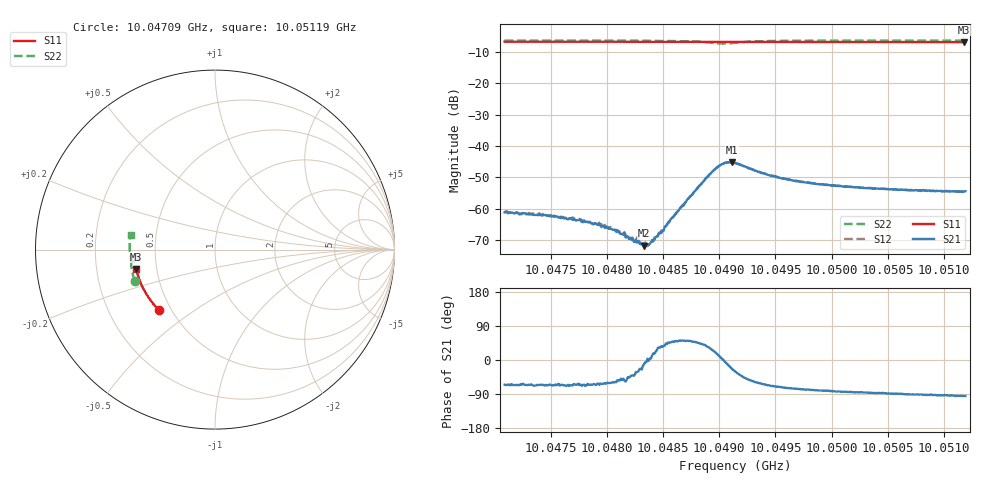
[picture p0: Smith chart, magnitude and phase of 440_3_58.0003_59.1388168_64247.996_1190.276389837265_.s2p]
#  HZ  S  RI  R  50.00
! Rohde & Schwarz Vector Network Analyzer
! Rohde-Schwarz,ZNB20-2Port,1311601062101988,3.16
! Created: UTC 3/21/2024, 1:10:01 AM
! freq[Hz]  re:S11  im:S11  re:S21  im:S21  re:S12  im:S12  re:S22  im:S22
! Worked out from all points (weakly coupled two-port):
!   401 points, 10.04709 GHz to 10.05119 GHz, reference 50 ohm
!   highest |S21| = -45.24 dB at 10.04911 GHz (marker M1); lowest = -71.8 dB at 10.04833 GHz (marker M2)
!   lowest |S11| = -6.9 dB at 10.05118 GHz (marker M3), VSWR 2.65, Z = 19.1 - j5.15 ohm
!   |S11| at or under -10 dB: nowhere
!   |S22| runs from -7.4 to -6.4 dB; largest |S21 - S12| = 0.0004
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1.0047088e10  -0.3102 -0.3387  0.000368 -0.000793  0.000454 -0.000776  -0.4466 -0.1749
1.0047458e10  -0.3273 -0.3211  0.000323 -0.000716  0.000389 -0.000707  -0.4546 -0.151
1.0047776e10  -0.341 -0.3054  0.00023 -0.000569  0.000307 -0.000587  -0.4603 -0.1295
1.0047909e10  -0.3467 -0.2986  0.000248 -0.000506  0.000319 -0.000493  -0.4624 -0.1204
1.0048043e10  -0.3521 -0.2915  0.000238 -0.000409  0.000281 -0.000393  -0.4642 -0.1108
1.0048145e10  -0.3563 -0.2864  0.000249 -0.000291  0.000269 -0.000298  -0.4654 -0.1034
1.0048227e10  -0.3594 -0.2821  0.00025 -0.000214  0.000281 -0.000203  -0.4661 -0.0972
1.0048289e10  -0.3619 -0.2788  0.000258 -0.000116  0.000277 -0.000124  -0.4667 -0.0924
1.004833e10  -0.3634 -0.2767  0.000252 -4.97e-05  0.000269 -3.61e-05  -0.4669 -0.089
1.004835e10  -0.3643 -0.2755  0.00027 -2.76e-05  0.000264 -2.85e-05  -0.4672 -0.0874
1.0048391e10  -0.3657 -0.2734  0.000294 1.97e-05  0.000301 7.72e-05  -0.4673 -0.084
1.0048463e10  -0.3685 -0.2694  0.000341 0.000223  0.000357 0.000211  -0.4675 -0.078
1.004873e10  -0.3782 -0.2546  0.000958 0.00114  0.000873 0.00118  -0.4624 -0.0525
1.0048946e10  -0.3853 -0.2423  0.00364 0.00169  0.00355 0.00192  -0.4372 -0.0371
1.0049028e10  -0.3878 -0.2378  0.00515 0.000261  0.00514 0.000545  -0.4248 -0.0479
1.004911e10  -0.3904 -0.2335  0.00506 -0.00206  0.00523 -0.00173  -0.4294 -0.0645
1.004914e10  -0.3915 -0.232  0.00463 -0.00265  0.00483 -0.00237  -0.4345 -0.0678
1.0049459e10  -0.4015 -0.2134  0.00124 -0.00313  0.00147 -0.00308  -0.4685 -0.047
1.0049828e10  -0.4118 -0.1915  0.00049 -0.00249  0.000623 -0.00249  -0.4751 -0.0156
1.0050515e10  -0.4279 -0.1493  6.69e-05 -0.00203  0.000153 -0.00206  -0.4752 0.0341
1.0051182e10  -0.4392 -0.1072  -0.000172 -0.00188  -4.59e-05 -0.00187  -0.4695 0.0791
1.0051192e10  -0.4395 -0.1065  -0.000164 -0.00189  -5.94e-05 -0.00183  -0.4695 0.0797
